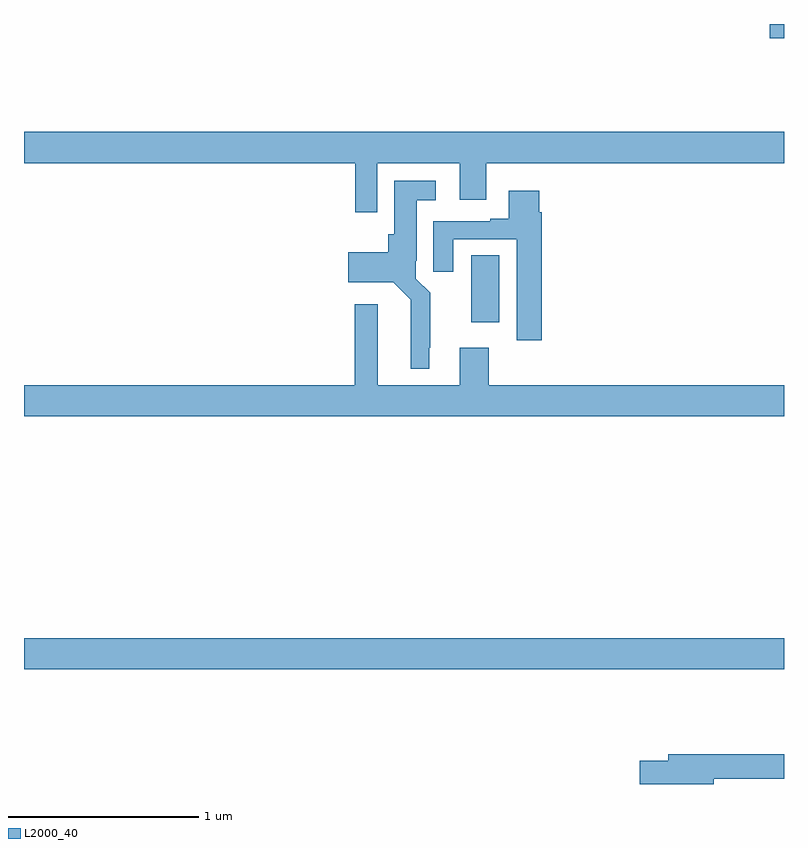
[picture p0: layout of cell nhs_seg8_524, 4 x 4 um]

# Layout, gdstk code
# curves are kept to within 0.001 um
import gdstk
lib = gdstk.Library(unit=1e-6, precision=1e-09)
def R(c, l, rs):  # rectangles x0, y0, x1, y1
    for r in rs: c.add(gdstk.rectangle(r[:2], r[2:], *l))
def P(c, l, *ps):  # polygons
    for p in ps: c.add(gdstk.Polygon(p, *l))
L2000_40 = (2000, 40)

nhs_seg8_524 = lib.new_cell('nhs_seg8_524')
R(nhs_seg8_524, L2000_40, [(145,1112.504,149,1112.668), (147.353,1114.329,147.502,1114.682), (148.926,1115.825,149,1115.9)])
P(nhs_seg8_524, L2000_40, [(146.859,1115.168),(147.293,1115.168),(147.293,1114.974),(147.433,1114.974),(147.433,1115.168),(149,1115.168),(149,1115.332),(145,1115.332),(145,1115.168),(146.743,1115.168),(146.743,1114.908),(146.859,1114.908)],
  [(147.133,1114.195),(147.137,1114.195),(147.137,1114.486),(147.063,1114.56),(147.063,1114.654),(147.067,1114.654),(147.067,1114.973),(147.166,1114.973),(147.166,1115.074),(146.948,1115.074),(146.948,1114.794),(146.918,1114.794),(146.918,1114.699),(146.706,1114.699),(146.706,1114.541),(146.943,1114.541),(147.036,1114.448),(147.035,1114.085),(147.133,1114.085)],
  [(147.725,1114.91),(147.712,1114.91),(147.712,1115.023),(147.551,1115.023),(147.551,1114.876),(147.455,1114.876),(147.455,1114.863),(147.155,1114.863),(147.155,1114.596),(147.259,1114.596),(147.259,1114.767),(147.593,1114.767),(147.593,1114.236),(147.725,1114.236)],
  [(149,1114),(147.446,1114),(147.446,1114.195),(147.293,1114.195),(147.293,1114),(146.863,1114),(146.863,1114.426),(146.741,1114.426),(146.741,1114),(145,1114),(145,1113.836),(149,1113.836)],
  [(148.63,1111.927),(149,1111.927),(149,1112.056),(148.391,1112.056),(148.391,1112.022),(148.242,1112.022),(148.242,1111.9),(148.63,1111.9)])

lib.write_gds('nhs_seg8_524.gds')
